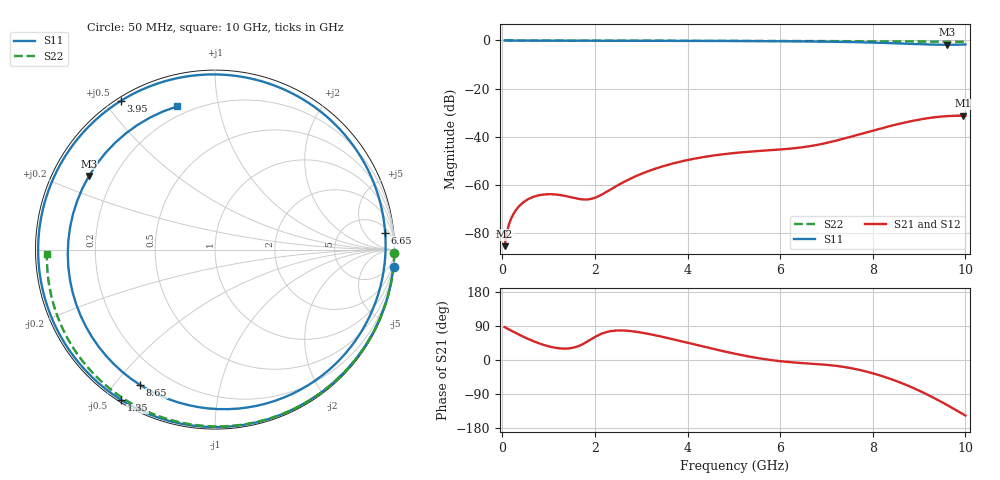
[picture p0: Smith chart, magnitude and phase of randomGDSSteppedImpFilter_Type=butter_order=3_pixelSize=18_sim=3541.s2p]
! freq	dB(S11)	phase(S11)	dB(S12)	phase(S12)
!  dB(S21)	phase(S21)	dB(S22)	phase(S22)
!S-par simulation data
#  GHz  S  DB  R 50
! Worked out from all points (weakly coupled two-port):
!   200 points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, 50 MHz to 10 GHz, reference 50 ohm
!   highest |S21| = -31.22 dB at 9.95 GHz (marker M1); lowest = -85.4 dB at 50 MHz (marker M2)
!   lowest |S11| = -1.8 dB at 9.6 GHz (marker M3), VSWR 9.72, Z = 5.52 + j13.4 ohm
!   |S11| at or under -10 dB: nowhere
!   |S22| runs from -0.6 to 0.0 dB; largest |S21 - S12| = 0
!   S11 on the Smith chart (normalised r, x): 50 MHz: 0, -20; 1.35 GHz: 0.01, -0.56; 3.95 GHz: 0.01, +0.55; 6.65 GHz: 8, +16; 8.65 GHz: 0.10, -0.58; 10 GHz: 0.15, +0.76
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0.05  -0.00 -5.6  -85.39 86.7  -85.39 86.7  -0.00 -1.1
0.3  -0.05 -32.9  -70.26 70.7  -70.26 70.7  -0.01 -6.3
0.65  -0.08 -67.8  -65.08 50.8  -65.08 50.8  -0.02 -13.5
0.95  -0.10 -93.4  -63.86 37.8  -63.86 37.8  -0.02 -19.7
1.35  -0.11 -121.9  -64.51 30.1  -64.51 30.1  -0.04 -27.8
1.75  -0.12 -145.2  -66.00 42.7  -66.00 42.7  -0.05 -35.9
2.5  -0.13 179.3  -60.05 78.0  -60.05 78.0  -0.06 -50.7
3.4  -0.15 143.3  -52.63 62.7  -52.63 62.7  -0.09 -67.8
3.95  -0.17 122.3  -49.85 47.0  -49.85 47.0  -0.11 -77.8
5.05  -0.23 78.8  -46.65 15.9  -46.65 15.9  -0.15 -97.2
5.8  -0.29 46.4  -45.54 -0.1  -45.54 -0.1  -0.19 -109.9
6.65  -0.42 5.6  -43.86 -9.5  -43.86 -9.5  -0.24 -123.8
6.7  -0.43 3.0  -43.70 -9.9  -43.70 -9.9  -0.24 -124.7
7.1  -0.53 -18.1  -42.10 -13.9  -42.10 -13.9  -0.27 -131.1
7.5  -0.66 -40.8  -40.09 -20.9  -40.09 -20.9  -0.30 -137.6
7.95  -0.85 -68.5  -37.68 -33.4  -37.68 -33.4  -0.34 -144.8
8.35  -1.09 -96.0  -35.64 -48.5  -35.64 -48.5  -0.38 -151.2
8.65  -1.29 -119.0  -34.25 -62.2  -34.25 -62.2  -0.41 -156.1
9.15  -1.64 -163.3  -32.38 -89.5  -32.38 -89.5  -0.47 -164.3
9.6  -1.79 149.7  -31.42 -118.6  -31.42 -118.6  -0.52 -171.8
9.95  -1.70 110.5  -31.22 -143.1  -31.22 -143.1  -0.56 -177.7
10  -1.67 104.9  -31.22 -146.6  -31.22 -146.6  -0.57 -178.6
